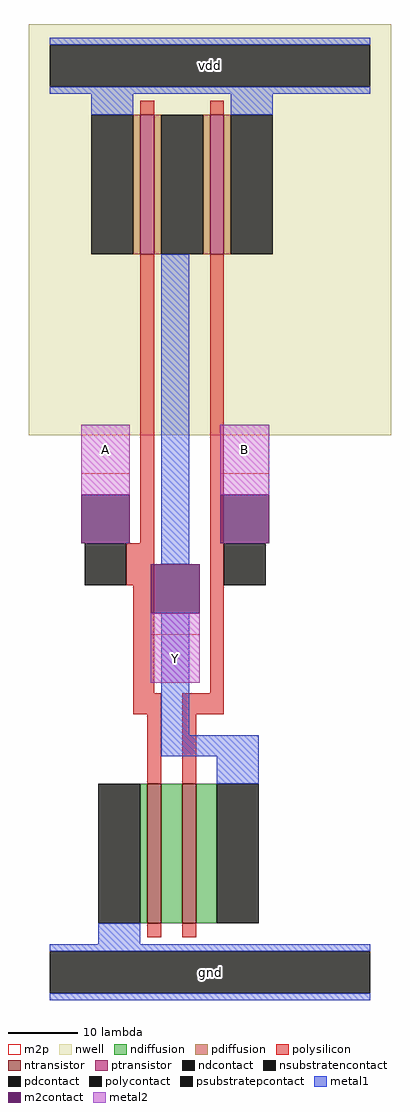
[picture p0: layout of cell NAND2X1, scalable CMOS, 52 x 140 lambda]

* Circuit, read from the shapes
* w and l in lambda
.subckt NAND2X1 A B Y vdd gnd
M1 n1 A gnd gnd nfet w=20 l=2
M2 Y B n1 gnd nfet w=20 l=2
M3 Y A vdd vdd pfet w=20 l=2
M4 vdd B Y vdd pfet w=20 l=2
.ends

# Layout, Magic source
magic
tech scmos
magscale 1 2
<< nwell >>
rect -12 154 92 272
<< ntransistor >>
rect 22 14 26 54
rect 32 14 36 54
<< ptransistor >>
rect 20 206 24 246
rect 40 206 44 246
<< ndiffusion >>
rect 20 14 22 54
rect 26 14 32 54
rect 36 14 42 54
<< pdiffusion >>
rect 18 206 20 246
rect 24 206 26 246
rect 38 206 40 246
rect 44 206 46 246
<< ndcontact >>
rect 8 14 20 54
rect 42 14 54 54
<< pdcontact >>
rect 6 206 18 246
rect 26 206 38 246
rect 46 206 58 246
<< psubstratepcontact >>
rect -6 -6 86 6
<< nsubstratencontact >>
rect -6 254 86 266
<< polysilicon >>
rect 20 246 24 250
rect 40 246 44 250
rect 20 123 24 206
rect 16 111 24 123
rect 18 80 24 111
rect 40 80 44 206
rect 18 74 26 80
rect 22 54 26 74
rect 32 74 44 80
rect 32 54 36 74
rect 22 10 26 14
rect 32 10 36 14
<< polycontact >>
rect 4 111 16 123
rect 44 111 56 123
<< metal1 >>
rect -6 266 86 268
rect -6 252 86 254
rect 6 246 18 252
rect 46 246 58 252
rect 26 117 34 206
rect 26 68 34 103
rect 26 62 54 68
rect 42 54 54 62
rect 8 8 20 14
rect -6 6 86 8
rect -6 -8 86 -6
<< m2contact >>
rect 3 123 17 137
rect 43 123 57 137
rect 23 103 37 117
<< metal2 >>
rect 3 137 17 157
rect 43 137 57 157
rect 23 83 37 103
<< m2p >>
rect 3 143 17 157
rect 43 143 57 157
rect 23 83 37 97
<< labels >>
rlabel metal2 3 143 17 157 0 A
port 0 nsew signal input
rlabel metal2 43 143 57 157 0 B
port 1 nsew signal input
rlabel metal2 23 83 37 97 0 Y
port 2 nsew signal output
rlabel metal1 -6 252 86 268 0 vdd
port 3 nsew power bidirectional abutment
rlabel metal1 -6 -8 86 8 0 gnd
port 4 nsew ground bidirectional abutment
<< properties >>
string FIXED_BBOX 0 0 80 260
string LEFclass CORE
string LEFsite core
string LEFsymmetry X Y
<< end >>
